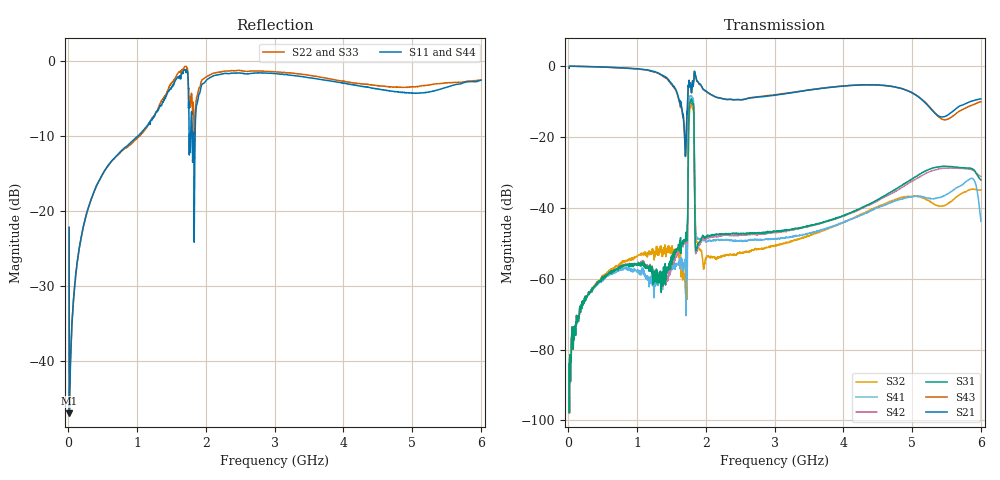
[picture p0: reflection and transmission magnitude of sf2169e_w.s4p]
# Hz  S  RI  R  75
! ADVANTEST Corporation R3860A
! Date: Sun Jul 02 19:05:37 2006
! P1234 S-Parameter Z1=75 Z2=75 Z3=75 Z4=75
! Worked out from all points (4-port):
!   1601 points, 10 MHz to 6 GHz, reference 75 ohm
!   strongest paths, dB at 10 MHz, 1.508 GHz, 3.005 GHz, 4.503 GHz, 6 GHz:
!     S21: -0.6, -5.0, -8.2, -5.3, -9.2
!     S43: -0.6, -5.3, -8.1, -5.3, -10.0
!     S31: -84.1, -53.4, -46.6, -37.6, -32.1
!     S42: -84.0, -55.1, -47.0, -38.0, -31.1
!     S41: -84.0, -55.7, -48.8, -39.9, -43.8
!     S32: -84.1, -50.7, -50.7, -39.6, -35.0
!   lowest |S11| = -47.0 dB at 13.74 MHz (marker M1), VSWR 1.01, Z = 75 + j0.673 ohm
!   |S11| at or under -10 dB: start of sweep to 1.018 GHz; 1.766 GHz to 1.778 GHz (12.03 MHz wide, 0.679 % of centre); 1.816 GHz to 1.842 GHz (25.52 MHz wide, 1.4 % of centre) (the widest 3 of 5)
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1e7  -0.0651 -0.0422  0.9349 -0.0497  -3.32e-05 -3.98e-05  -3.36e-05 -4.04e-05
     0.9349 -0.0497  -0.065 -0.0421  -3.33e-05 -3.97e-05  -3.37e-05 -4.03e-05
     -6e-05 -1.68e-05  -6.03e-05 -1.68e-05  -0.0641 -0.0499  0.9358 -0.0575
     -6.06e-05 -1.74e-05  -6.09e-05 -1.74e-05  0.9358 -0.0575  -0.0641 -0.0499
1.374375e7  0.000158 0.00449  1 -0.00587  -3.67e-05 1.11e-05  -3.66e-05 1.06e-05
            1 -0.00587  0.000191 0.00449  -3.65e-05 1.17e-05  -3.63e-05 1.12e-05
            -1.26e-05 2.5e-06  -1.22e-05 3.16e-06  0.000431 0.00451  1 -0.00585
            -1.27e-05 2.16e-06  -1.23e-05 2.81e-06  1 -0.00585  0.000413 0.00451
1.694688e9  0.1074 -0.8652  -0.0588 -0.0517  -0.00331 -0.000223  -0.00137 -0.000297
            -0.0583 -0.0532  -0.1445 -0.9026  0.000916 -3.83e-05  -0.00308 -0.000138
            -0.0033 -0.000215  0.000898 -2.21e-05  -0.1177 -0.8847  -0.0515 -0.0569
            -0.00141 -0.000216  -0.00306 -0.000298  -0.0518 -0.0566  0.1143 -0.8655
1.788281e9  -0.0195 -0.4485  -0.0931 -0.4122  -0.3437 -0.046  0.3643 0.1186
            -0.0936 -0.4121  -0.2296 -0.558  0.2975 -0.0128  -0.3353 -0.0443
            -0.3432 -0.0468  0.2976 -0.0123  -0.2117 -0.5409  -0.0864 -0.4136
            0.3643 0.1189  -0.3355 -0.044  -0.086 -0.414  7e-05 -0.462
1.8669e9  0.2979 -0.4121  -0.4909 -0.3924  -0.00263 -0.000344  -0.00388 -0.00057
          -0.4911 -0.3924  0.0396 -0.5717  -0.000339 0.0033  -0.00237 -0.000329
          -0.00262 -0.000447  -0.000289 0.00333  0.0611 -0.5636  -0.4796 -0.3911
          -0.00387 -0.000498  -0.00239 -0.000303  -0.4797 -0.391  0.3006 -0.4335
1.975469e9  0.1399 -0.6949  -0.4482 -0.1166  -0.00383 0.000892  -0.00343 0.00101
            -0.4484 -0.1166  -0.1108 -0.7532  -0.000299 0.00153  -0.00341 0.000824
            -0.00377 0.000836  -0.000295 0.00148  -0.0968 -0.7423  -0.4388 -0.1274
            -0.00339 0.000948  -0.00346 0.000897  -0.4386 -0.1271  0.1542 -0.6976
6e9  -0.7309 -0.1186  0.0632 -0.3417  -0.00887 0.0233  0.00644 -0.000206
     0.0632 -0.3407  -0.6599 -0.3412  -0.0149 0.00969  -0.0143 0.0237
     -0.0089 0.0231  -0.015 0.00964  -0.6809 -0.3339  0.0782 -0.3041
     0.00646 -0.000128  -0.0143 0.0238  0.0779 -0.3046  -0.6963 -0.2309
